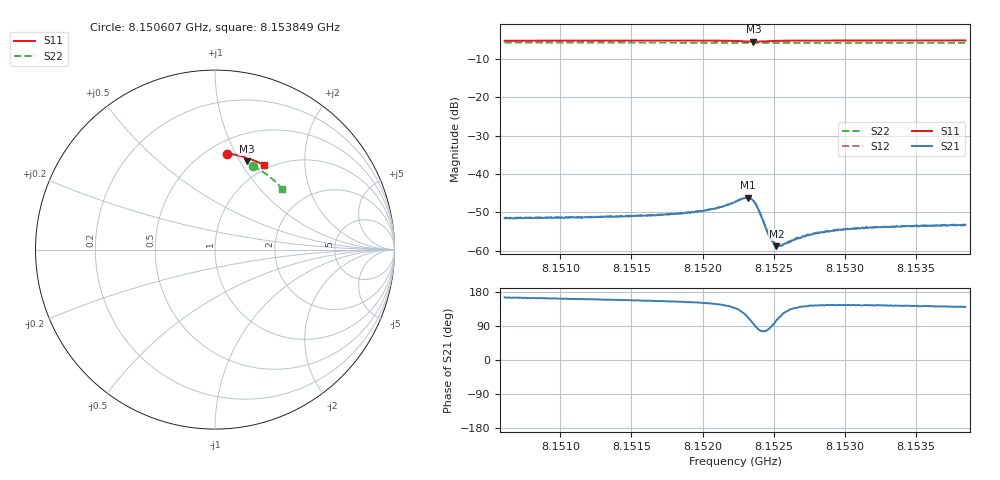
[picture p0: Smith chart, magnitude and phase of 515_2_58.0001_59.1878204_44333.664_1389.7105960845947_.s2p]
#  HZ  S  RI  R  50.00
! Rohde & Schwarz Vector Network Analyzer
! Rohde-Schwarz,ZNB20-2Port,1311601062101988,3.16
! Created: UTC 3/21/2024, 1:13:21 AM
! freq[Hz]  re:S11  im:S11  re:S21  im:S21  re:S12  im:S12  re:S22  im:S22
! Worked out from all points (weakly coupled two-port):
!   401 points, 8.150607 GHz to 8.153849 GHz, reference 50 ohm
!   highest |S21| = -46.17 dB at 8.152317 GHz (marker M1); lowest = -58.8 dB at 8.15252 GHz (marker M2)
!   lowest |S11| = -5.6 dB at 8.152358 GHz (marker M3), VSWR 3.20, Z = 39.4 + j53.5 ohm
!   |S11| at or under -10 dB: nowhere
!   |S22| runs from -5.9 to -5.8 dB; largest |S21 - S12| = 0.0001
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8.1506075e9  0.0644 0.535  -0.00258 0.000675  -0.00258 0.000764  0.2119 0.4639
8.1511504e9  0.1022 0.5301  -0.00255 0.000874  -0.0026 0.000945  0.2428 0.4475
8.1516934e9  0.1399 0.522  -0.00264 0.00122  -0.00268 0.00125  0.2722 0.4293
8.1519203e9  0.156 0.5175  -0.00282 0.00145  -0.00281 0.00152  0.2842 0.4211
8.1520176e9  0.1632 0.515  -0.00292 0.00168  -0.00293 0.00174  0.2893 0.4175
8.152131e9  0.172 0.5111  -0.0031 0.00208  -0.00306 0.00216  0.2951 0.4129
8.1522283e9  0.1798 0.5053  -0.00314 0.00297  -0.00313 0.003  0.3 0.4092
8.1522769e9  0.1824 0.5002  -0.00286 0.00378  -0.00286 0.00384  0.3024 0.4071
8.1523174e9  0.1815 0.495  -0.00195 0.00451  -0.00191 0.00457  0.3044 0.4054
8.1523417e9  0.1791 0.4929  -0.00105 0.00466  -0.00102 0.00469  0.3053 0.4046
8.1523579e9  0.1767 0.4928  -0.000402 0.00445  -0.000336 0.0045  0.3058 0.404
8.1523904e9  0.1737 0.4959  0.000503 0.0035  0.000554 0.00353  0.3074 0.4029
8.1524714e9  0.1786 0.5038  0.000183 0.00155  0.000197 0.00153  0.3116 0.3999
8.1525038e9  0.182 0.5049  -0.000147 0.00124  -0.000153 0.00127  0.3133 0.3986
8.15252e9  0.1837 0.505  -0.000306 0.00111  -0.000278 0.00116  0.314 0.398
8.1525362e9  0.1853 0.5051  -0.00044 0.0011  -0.000426 0.00112  0.3148 0.3975
8.1525605e9  0.1876 0.5051  -0.0006 0.00101  -0.000599 0.00104  0.3161 0.3966
8.1526497e9  0.1953 0.5039  -0.00102 0.000969  -0.00104 0.000995  0.3204 0.3926
8.1527713e9  0.2046 0.5013  -0.00131 0.000979  -0.00132 0.00102  0.3264 0.3879
8.1530144e9  0.2216 0.4948  -0.00156 0.0011  -0.00155 0.00114  0.3377 0.3773
8.1533142e9  0.2412 0.4864  -0.00164 0.00123  -0.00168 0.00127  0.3516 0.3641
8.1538491e9  0.2744 0.4694  -0.00168 0.00139  -0.00166 0.00139  0.3742 0.3391
